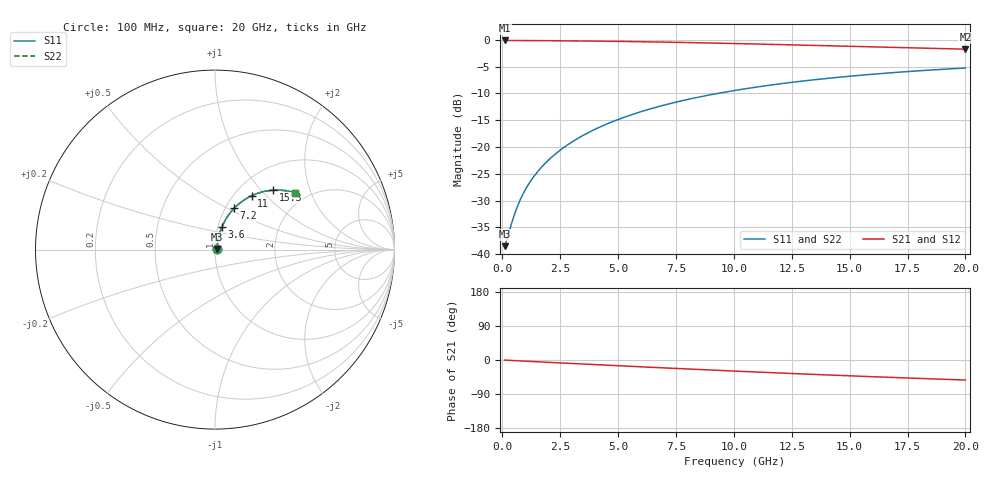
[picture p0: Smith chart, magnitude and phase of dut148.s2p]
! Touchstone file exported from HFSS 2026.1.0
!  File:  C:/ffzhzh/LocalFiles/Ansys_Project_Files/temp_train_BSMRDL_148_1782986540_42984.aedt
!  Generated:  06:03:57 PM Jul  2, 2026
!  Design:  BSMRDL
!  Project:  temp_train_BSMRDL_148_1782986540_42984
! Variables:
!  h_bsmrdl = 2.04um
!  h_ox = 20um
!  h_rdl = 5um
!  h_sub = 80um
!  h_tmrdl = 5um
!  h_tsv = 80um
!  h_via = 3um
!  l_bsmrdl = 753.73um
!  l_sub = 1153.73um
!  l_tmrdl = 200um
!  m_sub = 200um
!  pitch = 37.86um
!  r_tsv = 6um
!  s_tmrdl = 10um
!  w_bsmrdl = 11.58um
!  w_sub = 500um
!  w_tmrdl = 12um
!  x_tsv_center1 = 206um
!  x_tsv_center2 = 971.31um
!  x_tsv_center3 = 1183.31um
!  x_tsv_center4 = 1948.62um
!  x_tsv_center5 = 2160.62um
!  x_tsv_center6 = 2925.93um
# GHz S MA R 50.000000
! Terminal data exported
! Port[1] = BSM_RDL1_1_T1
! Port[2] = BSM_RDL1_1_T2
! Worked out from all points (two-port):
!   200 points, 100 MHz to 20 GHz, reference 50 ohm
!   highest |S21| = -0.10 dB at 100 MHz (marker M1); lowest = -1.7 dB at 20 GHz (marker M2)
!   |S21| within 3 dB of the highest: start of sweep to end of sweep
!   lowest |S11| = -38.5 dB at 100 MHz (marker M3), VSWR 1.02, Z = 51.1 + j0.395 ohm
!   |S11| at or under -10 dB: start of sweep to 9.288 GHz
!   |S22| runs from -38.5 to -5.2 dB; largest |S21 - S12| = 4e-15
!   S11 on the Smith chart (normalised r, x): 100 MHz: 1.02, +0.01; 3.6 GHz: 1.05, +0.27; 7.2 GHz: 1.10, +0.54; 11 GHz: 1.20, +0.83; 15.3 GHz: 1.39, +1.17; 20 GHz: 1.72, +1.55
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0.1  0.01187 19.0  0.9888 -0.3  0.9888 -0.3  0.01187 19.0
! Gamma 0 0 0 0
! Port Impedance 50 0 50 0
0.2  0.01372 34.2  0.9887 -0.6  0.9887 -0.6  0.01372 34.2
0.5  0.02265 57.6  0.9882 -1.6  0.9882 -1.6  0.02265 57.6
0.7  0.02954 64.0  0.9877 -2.2  0.9877 -2.2  0.02954 64.0
1  0.04015 68.9  0.9869 -3.1  0.9869 -3.1  0.04015 68.9
1.3  0.05083 71.4  0.9861 -4.0  0.9861 -4.0  0.05083 71.4
1.7  0.06507 73.1  0.9849 -5.3  0.9849 -5.3  0.06508 73.1
2.2  0.08287 73.9  0.9832 -6.8  0.9832 -6.8  0.08288 73.9
2.8  0.1042 73.9  0.981 -8.6  0.981 -8.6  0.1042 73.8
3.5  0.1289 73.1  0.9778 -10.7  0.9778 -10.7  0.1289 73.1
3.6  0.1324 73.0  0.9773 -11.0  0.9773 -11.0  0.1324 72.9
4.3  0.1567 71.8  0.9736 -13.1  0.9736 -13.1  0.1568 71.7
5  0.1807 70.4  0.9693 -15.1  0.9693 -15.1  0.1808 70.3
6.8  0.2403 66.2  0.956 -20.3  0.956 -20.3  0.2403 66.1
7.2  0.253 65.2  0.9526 -21.5  0.9526 -21.5  0.253 65.1
8.6  0.296 61.7  0.94 -25.4  0.94 -25.4  0.296 61.6
10.1  0.3392 58.0  0.9251 -29.5  0.9251 -29.5  0.3392 57.8
11  0.3637 55.8  0.9157 -31.8  0.9157 -31.8  0.3637 55.6
13.4  0.4232 50.0  0.8897 -37.9  0.8897 -37.9  0.4232 49.8
15.3  0.4646 45.6  0.8688 -42.5  0.8688 -42.5  0.4646 45.3
16.7  0.492 42.4  0.8536 -45.7  0.8536 -45.7  0.492 42.2
20  0.5469 35.5  0.8198 -52.9  0.8198 -52.9  0.547 35.2
